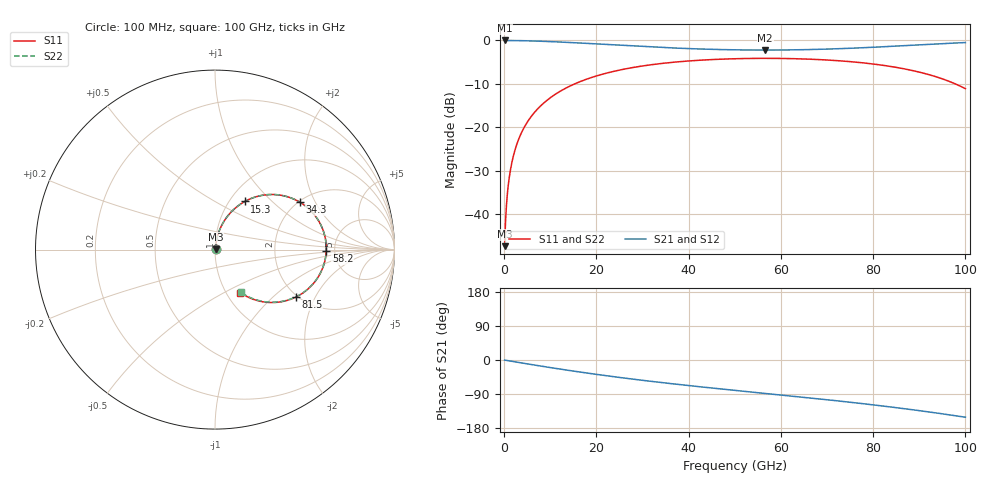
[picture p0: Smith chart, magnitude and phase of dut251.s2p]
! Touchstone file exported from HFSS 2026.1.0
!  File:  C:/ffzhzh/LocalFiles/Ansys_Project_Files/temp_train_RDL_251_1783501485_9504.aedt
!  Generated:  05:06:21 PM Jul  8, 2026
!  Design:  RDL
!  Project:  temp_train_RDL_251_1783501485_9504
! Variables:
!  h_bsmrdl = 2um
!  h_ox = 20um
!  h_rdl = 5um
!  h_sub = 80um
!  h_tmrdl = 3.69um
!  h_tsv = 80um
!  h_via = 3um
!  l_bsmrdl = 300um
!  l_sub = 924.06um
!  l_tmrdl = 524.06um
!  m_sub = 200um
!  pitch = 42.61um
!  r_tsv = 6um
!  s_tmrdl = 10um
!  w_bsmrdl = 18um
!  w_sub = 500um
!  w_tmrdl = 14.86um
!  x_tsv_center1 = 531.49um
!  x_tsv_center2 = 849.49um
!  x_tsv_center3 = 1388.41um
!  x_tsv_center4 = 1706.41um
!  x_tsv_center5 = 2245.33um
!  x_tsv_center6 = 2563.33um
# GHz S MA R 50.000000
! Terminal data exported
! Port[1] = TM_RDL1_1_T1
! Port[2] = TM_RDL1_1_T2
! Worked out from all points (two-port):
!   1000 points, 100 MHz to 100 GHz, reference 50 ohm
!   highest |S21| = -0.03 dB at 100 MHz (marker M1); lowest = -2.2 dB at 56.6 GHz (marker M2)
!   |S21| within 3 dB of the highest: start of sweep to end of sweep
!   lowest |S11| = -47.4 dB at 100 MHz (marker M3), VSWR 1.01, Z = 50.3 + j0.248 ohm
!   |S11| at or under -10 dB: start of sweep to 15.35 GHz; 97.75 GHz to end of sweep
!   |S22| runs from -47.4 to -4.1 dB; largest |S21 - S12| = 2e-14
!   S11 on the Smith chart (normalised r, x): 100 MHz: 1.01, +0.00; 15.3 GHz: 1.17, +0.70; 34.3 GHz: 2.04, +1.52; 58.2 GHz: 4.26, -0.13; 81.5 GHz: 1.95, -1.42; 100 GHz: 1.16, -0.60
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0.1  0.004271 35.2  0.9965 -0.2  0.9965 -0.2  0.004271 35.2
! Gamma 0 0 0 0
! Port Impedance 50 0 50 0
0.9  0.02161 77.2  0.9957 -1.9  0.9957 -1.9  0.02161 77.2
1.4  0.03296 79.6  0.9952 -2.9  0.9952 -2.9  0.03296 79.6
2.4  0.05574 80.2  0.9938 -5.0  0.9938 -5.0  0.05574 80.2
3.8  0.08735 78.7  0.9908 -7.8  0.9908 -7.8  0.08735 78.7
5.8  0.1314 75.3  0.9848 -11.8  0.9848 -11.8  0.1313 75.3
8.3  0.184 70.8  0.9749 -16.7  0.9749 -16.7  0.184 70.8
11.5  0.2471 64.9  0.9593 -22.8  0.9593 -22.8  0.2471 64.9
15.3  0.3153 58.2  0.938 -29.8  0.938 -29.8  0.3153 58.2
16.8  0.3401 55.7  0.929 -32.4  0.929 -32.4  0.3401 55.7
24.6  0.4495 43.0  0.8808 -45.4  0.8808 -45.4  0.4495 43.0
33.4  0.5359 30.2  0.8317 -58.5  0.8317 -58.5  0.5359 30.2
34.3  0.5428 29.0  0.8273 -59.8  0.8273 -59.8  0.5427 29.0
42.2  0.5892 18.6  0.7956 -70.3  0.7956 -70.3  0.5892 18.6
50.1  0.6141 8.9  0.7772 -80.3  0.7772 -80.3  0.614 8.9
56.6  0.6203 1.1  0.7725 -88.2  0.7725 -88.2  0.6202 1.1
58.2  0.62 -0.8  0.7728 -90.2  0.7728 -90.2  0.6199 -0.8
66.7  0.6053 -11.1  0.784 -100.7  0.784 -100.7  0.6053 -11.1
81.5  0.5214 -30.6  0.8395 -120.6  0.8395 -120.6  0.5212 -30.4
83.4  0.5041 -33.3  0.8494 -123.3  0.8494 -123.3  0.504 -33.1
92.5  0.3971 -47.2  0.9014 -137.8  0.9014 -137.8  0.397 -46.8
100  0.2777 -59.5  0.9419 -151.0  0.9419 -151.0  0.2776 -58.9
